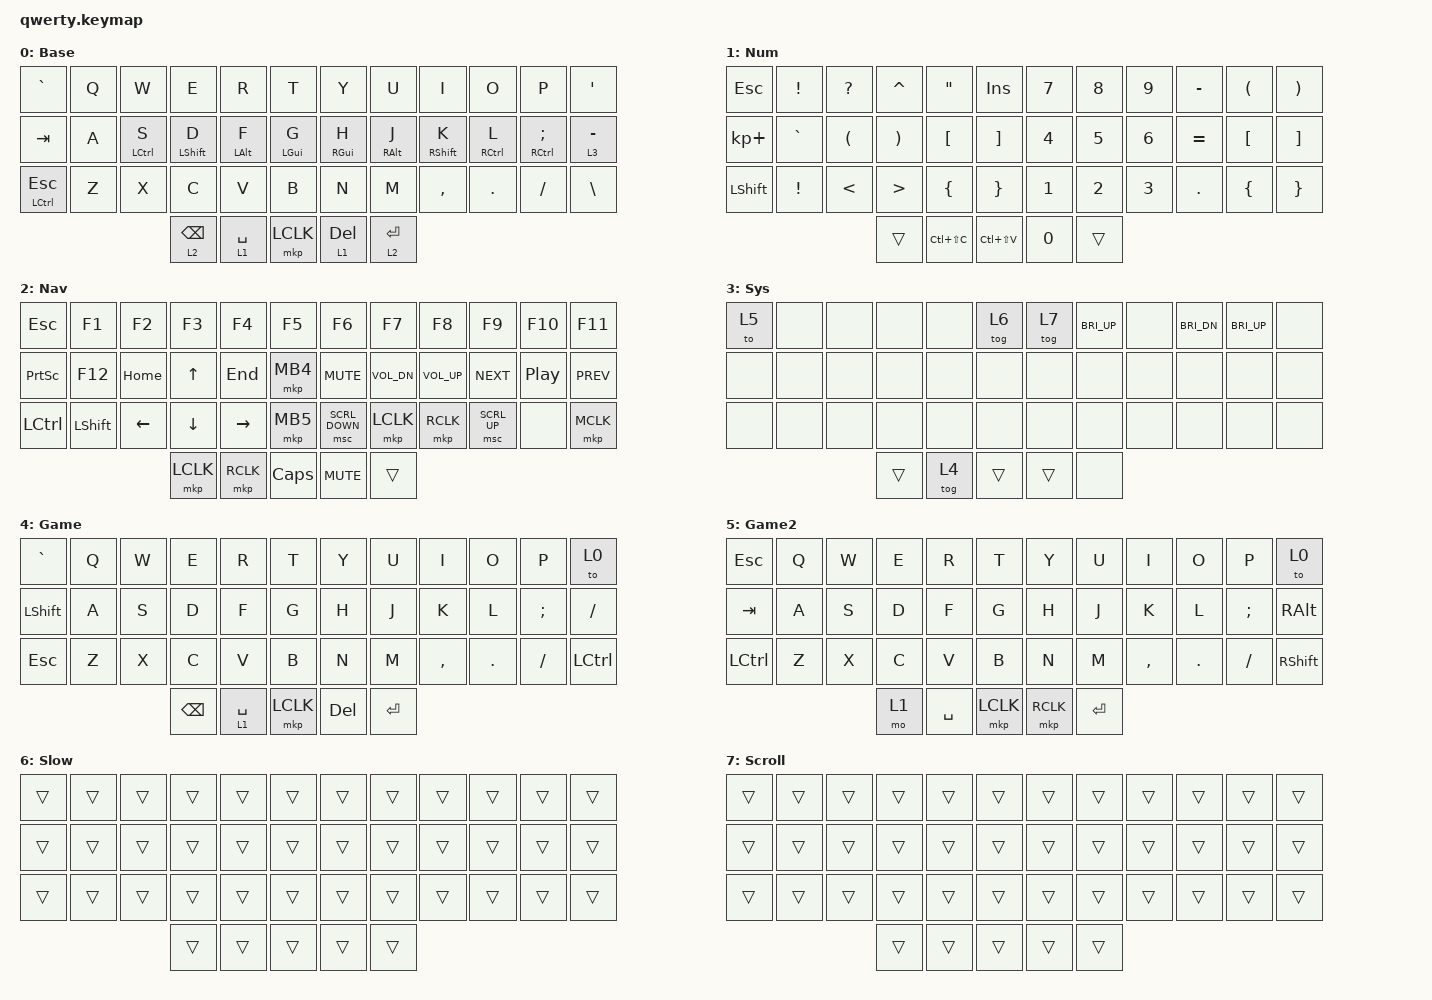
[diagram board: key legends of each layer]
/* upstream bindings and behaviors */
#include <behaviors.dtsi>
#include <dt-bindings/zmk/bt.h>
#include <dt-bindings/zmk/keys.h>
#include <dt-bindings/zmk/mouse.h>
#include <dt-bindings/zmk/outputs.h>
#include <behaviors/mouse_keys.dtsi>
#include <dt-bindings/zmk/ext_power.h>

/* local overlays */
#include "keymap_features/macros.dtsi"
#include "keymap_features/behaviors.dtsi"
#include "keymap_features/combos.dtsi"

/ {
/* --- KEYMAP CONFIG --- */
// Portado de Charybdis_vial_0.5.vil (QMK/Vial) em 2026-07-08.
// Camadas 0-5 = camadas 0-5 do Vial (índices LT/TO/TG mapearam 1:1).
// Camadas 6-7 (SLOW/SCROLL) são infra do trackball ZMK — NÃO REORDENAR:
// referenciadas por config/trackball/charybdis_pointer.dtsi.
// Macros M0/M1 do Vial (Ctrl+Shift+C/V) viraram &kp LC(LS(...)) direto.
// USER-keys do QMK (DPI/sniping/dragscroll): sniping → &tog 6 (SLOW),
// dragscroll → &tog 7 (SCROLL). DPI +/- sem equivalente runtime (CPI fixo
// no dtsi) → &none. RGB não instalado → &none.
// ╭──────┬──────┬──────┬──────┬──────┬──────╮  ╭──────┬──────┬──────┬──────┬──────┬──────╮
//    00     01     02     03    04      05        06     07     08     09     10     11
// ├──────┼──────┼──────┼──────┼──────┼──────┤  ├──────┼──────┼──────┼──────┼──────┼──────┤
//    12     13     14     15    16      17        18     19     20     21     22     23
// ├──────┼──────┼──────┼──────┼──────┼──────┤  ├──────┼──────┼──────┼──────┼──────┼──────┤
//    24     25     26     27    28      29        30     31     32     33     34     35
// ╰──────┴──────┴──────┼──────┼──────┼──────┤  ├──────┼──────┼──────┴──────┴──────┴──────╯
//                         36     37     38        39     40
//                      ╰──────┴──────┴──────╯  ╰──────┴──────╯
// #define BASE    0
// #define NUM     1  (sym esq + numpad dir)
// #define NAV     2  (F-keys, setas, mídia, mouse)
// #define SYS     3  (sistema, toggles do trackball, game switch)
// #define GAME    4
// #define GAME2   5
// #define SLOW    6  (trackball precisão — infra, não mexer no índice)
// #define SCROLL  7  (trackball scroll — infra, não mexer no índice)

    keymap {
        compatible = "zmk,keymap";
        BASE {
            display-name = "Base";
            bindings = <
// ╭─────────────────┬───────┬──────────────────┬──────────────────┬──────────────────┬──────────────────╮  ╭──────────────────┬──────────────────┬──────────────────┬───────────────────┬────────────────────┬──────────────╮
    &kp GRAVE          &kp Q   &kp W              &kp E              &kp R              &kp T                 &kp Y              &kp U              &kp I              &kp O               &kp P                &kp SQT
// ├─────────────────┼───────┼──────────────────┼──────────────────┼──────────────────┼──────────────────┤  ├──────────────────┼──────────────────┼──────────────────┼───────────────────┼────────────────────┼──────────────┤
    &kp TAB            &kp A   &ht_left LCTRL S   &ht_left LSHFT D   &ht_left LALT F    &ht_left LGUI G       &ht_right RGUI H   &ht_right RALT J   &ht_right RSHFT K  &ht_right RCTRL L   &ht_right RCTRL SEMI &lt 3 MINUS
// ├─────────────────┼───────┼──────────────────┼──────────────────┼──────────────────┼──────────────────┤  ├──────────────────┼──────────────────┼──────────────────┼───────────────────┼────────────────────┼──────────────┤
    &ht_left LCTRL ESC &kp Z   &kp X              &kp C              &kp V              &kp B                 &kp N              &kp M              &kp COMMA          &kp DOT             &kp FSLH             &kp BSLH
// ╰─────────────────┴───────┴──────────────────┼──────────────────┼──────────────────┼──────────────────┤  ├──────────────────┼──────────────────┼──────────────────┴───────────────────┴────────────────────┴──────────────╯
                                                     &lt 2 BSPC         &lt 1 SPACE        &mkp LCLK             &lt 1 DEL          &lt 2 RET
//                                              ╰──────────────────┴──────────────────┴──────────────────╯  ╰──────────────────┴──────────────────╯
            >;
        };

        NUM {
            display-name = "Num";
            bindings = <
// ╭──────────────┬───────────┬──────────┬───────────┬──────────┬──────────╮  ╭──────────┬──────────┬──────────┬───────────┬──────────┬──────────╮
    &kp ESC         &kp EXCL    &kp QMARK  &kp CARET   &kp DQT    &kp INS       &kp N7     &kp N8     &kp N9     &kp MINUS   &kp LPAR   &kp RPAR
// ├──────────────┼───────────┼──────────┼───────────┼──────────┼──────────┤  ├──────────┼──────────┼──────────┼───────────┼──────────┼──────────┤
    &kp KP_PLUS     &kp GRAVE   &kp LPAR   &kp RPAR    &kp LBKT   &kp RBKT      &kp N4     &kp N5     &kp N6     &kp EQUAL   &kp LBKT   &kp RBKT
// ├──────────────┼───────────┼──────────┼───────────┼──────────┼──────────┤  ├──────────┼──────────┼──────────┼───────────┼──────────┼──────────┤
    &kp LSHFT       &kp EXCL    &kp LT     &kp GT      &kp LBRC   &kp RBRC      &kp N1     &kp N2     &kp N3     &kp DOT     &kp LBRC   &kp RBRC
// ╰──────────────┴───────────┴──────────┼───────────┼──────────┼──────────┤  ├──────────┼──────────┼──────────┴───────────┴──────────┴──────────╯
                                          &trans     &kp LC(LS(C)) &kp LC(LS(V))  &kp N0    &trans
//                                       ╰────────────┴──────────┴───────────╯ ╰─────────┴──────────╯
            >;
        };

        NAV {
            display-name = "Nav";
            bindings = <
// ╭──────────┬───────────┬──────────┬──────────┬──────────┬──────────╮  ╭────────────────┬──────────────┬──────────────┬────────────┬──────────┬────────────╮
    &kp ESC     &kp F1      &kp F2     &kp F3     &kp F4     &kp F5        &kp F6           &kp F7         &kp F8         &kp F9       &kp F10    &kp F11
// ├──────────┼───────────┼──────────┼──────────┼──────────┼──────────┤  ├────────────────┼──────────────┼──────────────┼────────────┼──────────┼────────────┤
    &kp PSCRN   &kp F12     &kp HOME   &kp UP     &kp END    &mkp MB4      &kp C_MUTE       &kp C_VOL_DN   &kp C_VOL_UP   &kp C_NEXT   &kp C_PP   &kp C_PREV
// ├──────────┼───────────┼──────────┼──────────┼──────────┼──────────┤  ├────────────────┼──────────────┼──────────────┼────────────┼──────────┼────────────┤
    &kp LCTRL   &kp LSHFT   &kp LEFT   &kp DOWN   &kp RIGHT  &mkp MB5      &msc SCRL_DOWN   &mkp LCLK      &mkp RCLK      &msc SCRL_UP &none      &mkp MCLK
// ╰──────────┴───────────┴──────────┼──────────┼──────────┼──────────┤  ├────────────────┼──────────────┼──────────────┴────────────┴──────────┴────────────╯
                                      &mkp LCLK  &mkp RCLK  &kp CAPS      &kp C_MUTE       &trans
//                                   ╰──────────┴──────────┴──────────╯  ╰────────────────┴──────────────╯
            >;
        };

        SYS {
            display-name = "Sys";
            bindings = <
// ╭─────────┬─────────┬─────────┬─────────┬─────────┬──────────╮  ╭──────────┬──────────────┬─────────┬──────────────┬──────────────┬─────────╮
    &to 5      &none     &none     &none     &none     &tog 6        &tog 7     &kp C_BRI_UP   &none     &kp C_BRI_DN   &kp C_BRI_UP   &none
// ├─────────┼─────────┼─────────┼─────────┼─────────┼──────────┤  ├──────────┼──────────────┼─────────┼──────────────┼──────────────┼─────────┤
    &none      &none     &none     &none     &none     &none         &none      &none          &none     &none          &none          &none
// ├─────────┼─────────┼─────────┼─────────┼─────────┼──────────┤  ├──────────┼──────────────┼─────────┼──────────────┼──────────────┼─────────┤
    &none      &none     &none     &none     &none     &none         &none      &none          &none     &none          &none          &none
// ╰─────────┴─────────┴─────────┼─────────┼─────────┼──────────┤  ├──────────┼──────────────┼─────────┴──────────────┴──────────────┴─────────╯
                                  &trans    &tog 4    &trans        &trans     &none
//                               ╰─────────┴─────────┴──────────╯  ╰──────────┴──────────────╯
            >;
        };

        GAME {
            display-name = "Game";
            bindings = <
// ╭───────────┬───────┬───────┬───────────┬────────────┬─────────────╮  ╭─────────┬─────────┬───────────┬─────────┬──────────┬───────────╮
    &kp GRAVE    &kp Q   &kp W   &kp E       &kp R        &kp T            &kp Y     &kp U     &kp I       &kp O     &kp P      &to 0
// ├───────────┼───────┼───────┼───────────┼────────────┼─────────────┤  ├─────────┼─────────┼───────────┼─────────┼──────────┼───────────┤
    &kp LSHFT    &kp A   &kp S   &kp D       &kp F        &kp G            &kp H     &kp J     &kp K       &kp L     &kp SEMI   &kp FSLH
// ├───────────┼───────┼───────┼───────────┼────────────┼─────────────┤  ├─────────┼─────────┼───────────┼─────────┼──────────┼───────────┤
    &kp ESC      &kp Z   &kp X   &kp C       &kp V        &kp B            &kp N     &kp M     &kp COMMA   &kp DOT   &kp FSLH   &kp LCTRL
// ╰───────────┴───────┴───────┼───────────┼────────────┼─────────────┤  ├─────────┼─────────┼───────────┴─────────┴──────────┴───────────╯
                                &kp BSPC    &lt 1 SPACE  &mkp LCLK        &kp DEL   &kp RET
//                             ╰───────────┴────────────┴─────────────╯  ╰─────────┴─────────╯
            >;
        };

        GAME2 {
            display-name = "Game2";
            bindings = <
// ╭───────────┬───────┬───────┬───────────┬────────────┬─────────────╮  ╭─────────┬─────────┬───────────┬─────────┬──────────┬───────────╮
    &kp ESC      &kp Q   &kp W   &kp E       &kp R        &kp T            &kp Y     &kp U     &kp I       &kp O     &kp P      &to 0
// ├───────────┼───────┼───────┼───────────┼────────────┼─────────────┤  ├─────────┼─────────┼───────────┼─────────┼──────────┼───────────┤
    &kp TAB      &kp A   &kp S   &kp D       &kp F        &kp G            &kp H     &kp J     &kp K       &kp L     &kp SEMI   &kp RALT
// ├───────────┼───────┼───────┼───────────┼────────────┼─────────────┤  ├─────────┼─────────┼───────────┼─────────┼──────────┼───────────┤
    &kp LCTRL    &kp Z   &kp X   &kp C       &kp V        &kp B            &kp N     &kp M     &kp COMMA   &kp DOT   &kp FSLH   &kp RSHFT
// ╰───────────┴───────┴───────┼───────────┼────────────┼─────────────┤  ├─────────┼─────────┼───────────┴─────────┴──────────┴───────────╯
                                &mo 1       &kp SPACE    &mkp LCLK        &mkp RCLK &kp RET
//                             ╰───────────┴────────────┴─────────────╯  ╰─────────┴─────────╯
            >;
        };

        SLOW {
            display-name = "Slow";
            bindings = <
// ╭────────┬────────┬────────┬────────┬────────┬────────╮  ╭────────┬────────┬────────┬────────┬────────┬────────╮
    &trans    &trans   &trans   &trans   &trans   &trans      &trans   &trans   &trans   &trans   &trans   &trans
// ├────────┼────────┼────────┼────────┼────────┼────────┤  ├────────┼────────┼────────┼────────┼────────┼────────┤
    &trans    &trans   &trans   &trans   &trans   &trans      &trans   &trans   &trans   &trans   &trans   &trans
// ├────────┼────────┼────────┼────────┼────────┼────────┤  ├────────┼────────┼────────┼────────┼────────┼────────┤
    &trans    &trans   &trans   &trans   &trans   &trans      &trans   &trans   &trans   &trans   &trans   &trans
// ╰────────┴────────┴────────┼────────┼────────┼────────┤  ├────────┼────────┼────────┴────────┴────────┴────────╯
                                  &trans   &trans   &trans      &trans   &trans
                             // ╰────────┴────────┴────────╯  ╰────────┴────────╯
            >;
        };

        SCROLL {
            display-name = "Scroll";
            bindings = <
// ╭────────┬────────┬────────┬────────┬────────┬────────╮  ╭────────┬────────┬────────┬────────┬────────┬────────╮
    &trans    &trans   &trans   &trans   &trans   &trans      &trans   &trans   &trans   &trans   &trans   &trans
// ├────────┼────────┼────────┼────────┼────────┼────────┤  ├────────┼────────┼────────┼────────┼────────┼────────┤
    &trans    &trans   &trans   &trans   &trans   &trans      &trans   &trans   &trans   &trans   &trans   &trans
// ├────────┼────────┼────────┼────────┼────────┼────────┤  ├────────┼────────┼────────┼────────┼────────┼────────┤
    &trans    &trans   &trans   &trans   &trans   &trans      &trans   &trans   &trans   &trans   &trans   &trans
// ╰────────┴────────┴────────┼────────┼────────┼────────┤  ├────────┼────────┼────────┴────────┴────────┴────────╯
                                  &trans   &trans   &trans      &trans   &trans
                             // ╰────────┴────────┴────────╯  ╰────────┴────────╯
            >;
        };
    };
};
